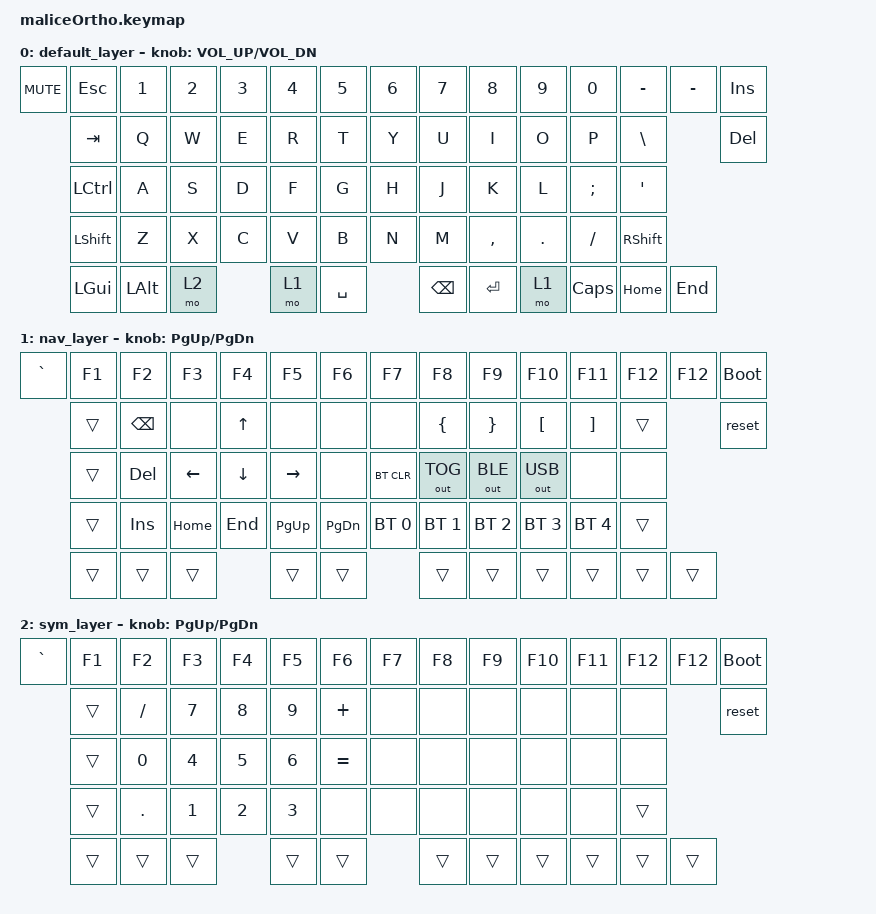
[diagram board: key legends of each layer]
#include <behaviors.dtsi>
#include <dt-bindings/zmk/keys.h>
#include <dt-bindings/zmk/bt.h>
#include <dt-bindings/zmk/outputs.h>

/ {
	keymap0: keymap {
		compatible = "zmk,keymap";

		default_layer {
// ------------------------------------------------------------------------------------------
// | ENC | ESC |  1  |  2  |  3  |  4  |  5  |  6  |  7  |  8  |  9  |  0  |  -  |  -  |   INS   |
// |      TAB  |  Q  |  W  |  E  |  R  |  T  |  Y  |  U  |  I  |  O  |  P  |  \  |
// |     CAPS  |  A  |  S  |  D  |  F  |  G  |  H  |  J  |  K  |  L  |  ;  |  '  | 
// |    SHIFT  |  Z  |  X  |  C  |  V  |  B  |  N  |  M  |  ,  |  .  |  /  |  SHIFT |
// |  WIN  |    ALT  | MO(2) | MO(1) | SPACE | BSPC | ENT| MO(1) | CAPS |     HOME | END |
// ------------------------------------------------------------------------------------------
			bindings = <
	&kp C_MUTE &kp ESC &kp N1 &kp N2 &kp N3 &kp N4 &kp N5 &kp N6 &kp N7 &kp   N8  &kp  N9 &kp  N0  &kp MINUS &kp MINUS &kp INS
	&kp TAB   &kp Q  &kp W  &kp E  &kp R  &kp T  &kp Y  &kp U  &kp   I   &kp  O  &kp   P  &kp BSLH  &kp DEL 
	&kp LCTRL &kp A  &kp S  &kp D  &kp F  &kp G  &kp H  &kp J  &kp   K   &kp  L  &kp SEMI &kp SQT
	&kp LSHFT &kp Z  &kp X  &kp C  &kp V  &kp B  &kp N  &kp M  &kp COMMA &kp DOT &kp FSLH &kp RSHFT
	&kp LGUI    &kp LALT  &mo 2 &mo 1 &kp SPACE   &kp BSPC &kp RET &mo  1  &kp CLCK  &kp HOME  &kp END 
			>;
			sensor-bindings = <&inc_dec_kp C_VOL_UP C_VOL_DN>;
		};
		
		nav_layer {
			bindings = <
&kp GRAVE    &kp F1    &kp F2     &kp F3    &kp F4   &kp F5      &kp F6    &kp F7     &kp F8       &kp F9       &kp F10       &kp F11    &kp F12 &kp F12    &bootloader
             &trans    &kp BSPC   &none     &kp UP   &none       &none     &none      &kp LBRC     &kp RBRC     &kp LBKT      &kp RBKT   &trans             &reset
             &trans    &kp DEL    &kp LEFT  &kp DOWN &kp RIGHT   &none     &bt BT_CLR &out OUT_TOG &out OUT_BLE &out OUT_USB  &none      &none
             &trans    &kp INS    &kp HOME  &kp END  &kp PG_UP   &kp PG_DN &bt BT_SEL 0 &bt BT_SEL 1 &bt BT_SEL 2 &bt BT_SEL 3 &bt BT_SEL 4  &trans
             &trans    &trans       &trans       &trans     &trans                     &trans  &trans   &trans           &trans        &trans     &trans
			>;
			sensor-bindings = <&inc_dec_kp PG_UP PG_DN>;
		};
		
		sym_layer {
			bindings = <
&kp GRAVE    &kp F1    &kp F2     &kp F3    &kp F4   &kp F5   &kp F6       &kp F7     &kp F8       &kp F9       &kp F10       &kp F11    &kp F12 &kp F12    &bootloader
             &trans    &kp FSLH   &kp N7    &kp N8   &kp N9   &kp PLUS     &none      &none     &none     &none      &none   &none                          &reset
             &trans    &kp N0     &kp N4    &kp N5   &kp N6   &kp EQUAL    &none      &none     &none     &none      &none   &none
             &trans    &kp DOT    &kp N1    &kp N2   &kp N3   &none        &none      &none     &none     &none      &none  &trans
             &trans    &trans       &trans       &trans     &trans                     &trans  &trans   &trans           &trans          &trans     &trans
			>;
			sensor-bindings = <&inc_dec_kp PG_UP PG_DN>;
		};
	};
};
